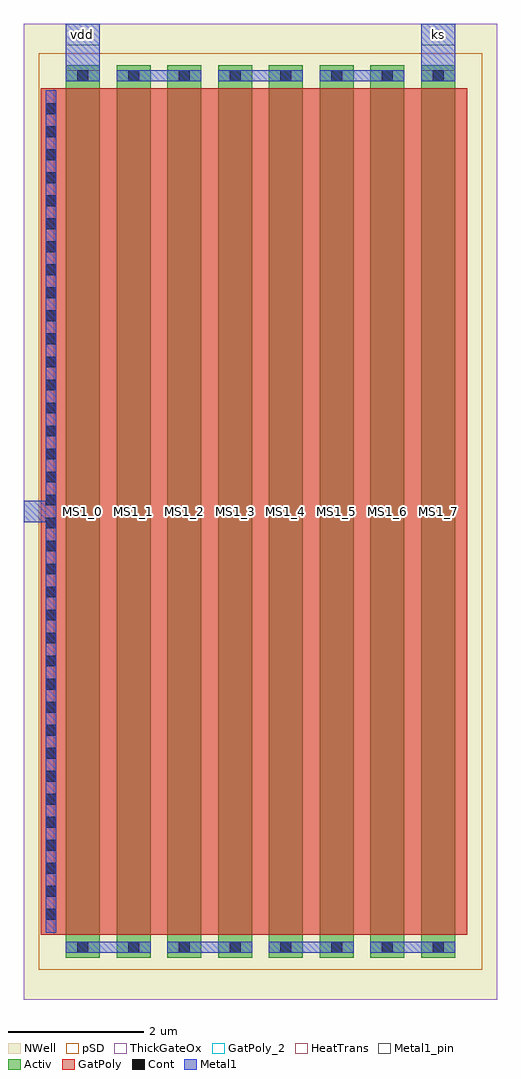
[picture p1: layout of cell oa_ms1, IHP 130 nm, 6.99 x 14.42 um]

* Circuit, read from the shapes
.subckt oa_ms1 en_3v3_b ks vdd
XM1 vdd en_3v3_b n1 n2 sg13_hv_pmos w=0.5u l=12.5u
XM2 n3 en_3v3_b n1 n2 sg13_hv_pmos w=0.5u l=12.5u
XM3 n3 en_3v3_b n4 n2 sg13_hv_pmos w=0.5u l=12.5u
XM4 n5 en_3v3_b n4 n2 sg13_hv_pmos w=0.5u l=12.5u
XM5 n5 en_3v3_b n6 n2 sg13_hv_pmos w=0.5u l=12.5u
XM6 n7 en_3v3_b n6 n2 sg13_hv_pmos w=0.5u l=12.5u
XM7 n7 en_3v3_b n8 n2 sg13_hv_pmos w=0.5u l=12.5u
XM8 ks en_3v3_b n8 n2 sg13_hv_pmos w=0.5u l=12.5u
.ends

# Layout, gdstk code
from math import pi, radians
import gdstk
lib = gdstk.Library(unit=1e-6, precision=1e-09)
def R(c, l, rs):  # rectangles x0, y0, x1, y1
    for r in rs: c.add(gdstk.rectangle(r[:2], r[2:], *l))
def A(c, l, x, y, w, h, nx, ny, dx, dy):  # array of equal rectangles
    R(c, l, [(x+i*dx, y+j*dy, x+i*dx+w, y+j*dy+h) for i in range(nx) for j in range(ny)])
Activ = (1, 0)
GatPoly = (5, 0)
GatPoly_2 = (5, 2)
Cont = (6, 0)
Metal1 = (8, 0)
Metal1_pin = (8, 2)
pSD = (14, 0)
NWell = (31, 0)
ThickGateOx = (44, 0)
HeatTrans = (51, 0)

pmoshv_w0p5_l12p5 = lib.new_cell('pmosHV_w0p5_l12p5')
R(pmoshv_w0p5_l12p5, Activ, [(0,0,0.3,0.3), (0,0,13.18,0.5), (12.88,0,13.18,0.3)])
R(pmoshv_w0p5_l12p5, GatPoly, [(0.34,-0.18,12.84,0.68)])
R(pmoshv_w0p5_l12p5, GatPoly_2, [(0.34,-0.18,12.84,0.68)])
R(pmoshv_w0p5_l12p5, Cont, [(0.07,0.17,0.23,0.33), (12.95,0.17,13.11,0.33)])
R(pmoshv_w0p5_l12p5, Metal1, [(0.07,0,0.23,0.5), (12.95,0,13.11,0.5)])
R(pmoshv_w0p5_l12p5, Metal1_pin, [(0.07,0,0.23,0.5), (12.95,0,13.11,0.5)])
R(pmoshv_w0p5_l12p5, pSD, [(-0.18,-0.4,13.36,0.9)])
R(pmoshv_w0p5_l12p5, NWell, [(-0.62,-0.62,13.8,1.12)])
R(pmoshv_w0p5_l12p5, ThickGateOx, [(-0.62,-0.62,13.8,1.12)])
R(pmoshv_w0p5_l12p5, HeatTrans, [(0.34,-0.18,12.84,0.68)])
pmoshv_w0p5_l12p5.add(gdstk.Label('pmos', (6.59,0.25), layer=51, texttype=0))
pmoshv_w0p5_l12p5.add(gdstk.Label('pmosHV', (6.59,0.25), layer=63, texttype=0))

oa_ms1 = lib.new_cell('oa_ms1')
R(oa_ms1, GatPoly, [(-0.37,0.34,0,12.84)])
A(oa_ms1, Cont, -0.3, 0.56, 0.16, 0.16, 1, 36, 0, 0.34)
A(oa_ms1, Metal1, 0, 0.07, 1.25, 0.16, 4, 1, 1.5, 0)
A(oa_ms1, Metal1, 0.75, 12.95, 1.25, 0.16, 3, 1, 1.5, 0)
R(oa_ms1, Metal1, [(-0.3,0.365,-0.14,12.815), (-0.62,6.43,-0.14,6.75), (0,12.95,0.5,13.8), (5.25,12.95,5.75,13.8)])
R(oa_ms1, Metal1_pin, [(-0.62,6.43,-0.3,6.75), (0,13.48,0.5,13.8), (5.25,13.48,5.75,13.8)])
R(oa_ms1, NWell, [(-0.62,-0.62,6.37,13.8)])
R(oa_ms1, ThickGateOx, [(-0.62,-0.62,6.37,13.8)])
r = gdstk.Reference(pmoshv_w0p5_l12p5, (0,13.18), rotation=3*pi/2); r.repetition = gdstk.Repetition(1, 8, v1=(0,0), v2=(0.75,0)); oa_ms1.add(r)
oa_ms1.add(gdstk.Label('MS1_0', (0.25,6.59), layer=63, texttype=0))
oa_ms1.add(gdstk.Label('MS1_1', (1,6.59), layer=63, texttype=0))
oa_ms1.add(gdstk.Label('MS1_2', (1.75,6.59), layer=63, texttype=0))
oa_ms1.add(gdstk.Label('MS1_3', (2.5,6.59), layer=63, texttype=0))
oa_ms1.add(gdstk.Label('MS1_4', (3.25,6.59), layer=63, texttype=0))
oa_ms1.add(gdstk.Label('MS1_5', (4,6.59), layer=63, texttype=0))
oa_ms1.add(gdstk.Label('MS1_6', (4.75,6.59), layer=63, texttype=0))
oa_ms1.add(gdstk.Label('MS1_7', (5.5,6.59), layer=63, texttype=0))
oa_ms1.add(gdstk.Label('vdd', (0.25,13.64), layer=8, texttype=25))
oa_ms1.add(gdstk.Label('ks', (5.5,13.64), layer=8, texttype=25))
oa_ms1.add(gdstk.Label('en_3v3_b', (-0.46,6.59), layer=8, texttype=25))

lib.write_gds('oa_ms1.gds')
